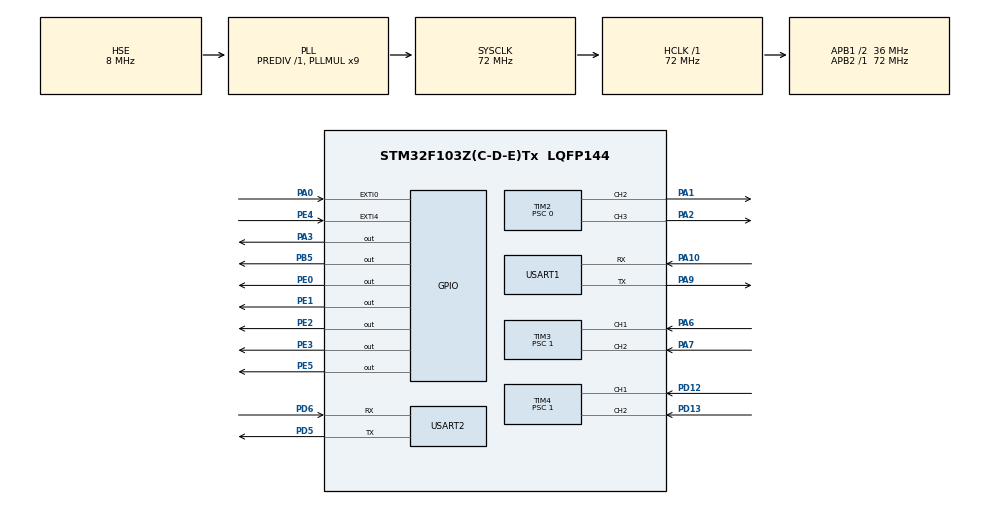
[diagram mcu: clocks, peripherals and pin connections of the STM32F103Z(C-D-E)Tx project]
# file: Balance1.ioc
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Mcu.Family=STM32F1
Mcu.Name=STM32F103Z(C-D-E)Tx
Mcu.Package=LQFP144
NVIC.EXTI0_IRQn=true\:2\:1\:true\:false\:true\:true\:true
NVIC.EXTI4_IRQn=true\:2\:2\:true\:false\:true\:true\:true
NVIC.PriorityGroup=NVIC_PRIORITYGROUP_2
NVIC.TIM1_UP_IRQn=true\:3\:3\:true\:false\:true\:true\:true
NVIC.USART1_IRQn=true\:3\:3\:true\:false\:true\:true\:true
NVIC.USART2_IRQn=true\:0\:0\:false\:false\:true\:true\:true
OSC_IN.Mode=HSE-External-Oscillator
OSC_IN.Signal=RCC_OSC_IN
OSC_OUT.Mode=HSE-External-Oscillator
OSC_OUT.Signal=RCC_OSC_OUT
PA0-WKUP.GPIO_ModeDefaultEXTI=GPIO_MODE_IT_RISING
PA0-WKUP.GPIO_PuPd=GPIO_PULLDOWN
PA0-WKUP.Signal=GPXTI0
PA1.Signal=S_TIM2_CH2
PA10.Mode=Asynchronous
PA10.Signal=USART1_RX
PA13.Mode=Serial_Wire
PA13.Signal=SYS_JTMS-SWDIO
PA14.Mode=Serial_Wire
PA14.Signal=SYS_JTCK-SWCLK
PA2.Signal=S_TIM2_CH3
PA3.GPIO_PuPd=GPIO_PULLDOWN
PA3.GPIO_Speed=GPIO_SPEED_FREQ_LOW
PA3.Signal=GPIO_Output
PA6.Signal=S_TIM3_CH1
PA7.Signal=S_TIM3_CH2
PA9.Mode=Asynchronous
PA9.Signal=USART1_TX
PB5.GPIO_Speed=GPIO_SPEED_FREQ_MEDIUM
PB5.PinState=GPIO_PIN_SET
PB5.Signal=GPIO_Output
PD12.Signal=S_TIM4_CH1
PD13.Signal=S_TIM4_CH2
PD5.Mode=Asynchronous
PD5.Signal=USART2_TX
PD6.Mode=Asynchronous
PD6.Signal=USART2_RX
PE0.GPIO_Speed=GPIO_SPEED_FREQ_HIGH
PE0.PinState=GPIO_PIN_RESET
PE0.Signal=GPIO_Output
PE1.GPIO_Speed=GPIO_SPEED_FREQ_HIGH
PE1.Signal=GPIO_Output
PE2.GPIO_Speed=GPIO_SPEED_FREQ_HIGH
PE2.Signal=GPIO_Output
PE3.GPIO_Speed=GPIO_SPEED_FREQ_HIGH
PE3.Signal=GPIO_Output
PE4.GPIO_PuPd=GPIO_PULLDOWN
PE4.Signal=GPXTI4
PE5.GPIO_Speed=GPIO_SPEED_FREQ_MEDIUM
PE5.PinState=GPIO_PIN_SET
PE5.Signal=GPIO_Output
ProjectManager.HeapSize=0x200
ProjectManager.StackSize=0x400
ProjectManager.TargetToolchain=MDK-ARM V5.27
RCC.AHBFreq_Value=72000000
RCC.APB1CLKDivider=RCC_HCLK_DIV2
RCC.APB1Freq_Value=36000000
RCC.APB1TimFreq_Value=72000000
RCC.APB2Freq_Value=72000000
RCC.APB2TimFreq_Value=72000000
RCC.HCLKFreq_Value=72000000
RCC.PLLMUL=RCC_PLL_MUL9
RCC.PLLSourceVirtual=RCC_PLLSOURCE_HSE
RCC.SYSCLKFreq_VALUE=72000000
RCC.SYSCLKSource=RCC_SYSCLKSOURCE_PLLCLK
RCC.USBFreq_Value=72000000
SH.S_TIM2_CH2.0=TIM2_CH2,PWM Generation2 CH2
SH.S_TIM2_CH3.0=TIM2_CH3,PWM Generation3 CH3
SH.S_TIM3_CH1.0=TIM3_CH1,Encoder_Interface
SH.S_TIM3_CH2.0=TIM3_CH2,Encoder_Interface
SH.S_TIM4_CH1.0=TIM4_CH1,Encoder_Interface
SH.S_TIM4_CH2.0=TIM4_CH2,Encoder_Interface
TIM1.AutoReloadPreload=TIM_AUTORELOAD_PRELOAD_ENABLE
TIM1.Period=7199
TIM1.Prescaler=499
TIM2.AutoReloadPreload=TIM_AUTORELOAD_PRELOAD_ENABLE
TIM2.Channel-PWM\ Generation2\ CH2=TIM_CHANNEL_2
TIM2.Channel-PWM\ Generation3\ CH3=TIM_CHANNEL_3
TIM2.Period=7199
TIM2.Prescaler=0
TIM3.EncoderMode=TIM_ENCODERMODE_TI12
TIM3.Period=35999
TIM3.Prescaler=1
TIM4.EncoderMode=TIM_ENCODERMODE_TI12
TIM4.Period=35999
TIM4.Prescaler=1
USART1.VirtualMode=VM_ASYNC
USART2.VirtualMode=VM_ASYNC
VP_TIM1_VS_ClockSourceINT.Mode=Internal
VP_TIM2_VS_ClockSourceINT.Mode=Internal
board=custom

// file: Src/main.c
/* USER CODE BEGIN Header */
/**
  ******************************************************************************
  * @file           : main.c
  * @brief          : Main program body
  ******************************************************************************
  * @attention
  *
  * <h2><center>&copy; Copyright (c) 2020 STMicroelectronics.
  * All rights reserved.</center></h2>
  *
  * This software component is licensed by ST under BSD 3-Clause license,
  * the "License"; You may not use this file except in compliance with the
  * License. You may obtain a copy of the License at:
  *                        opensource.org/licenses/BSD-3-Clause
  *
  ******************************************************************************
  */

/**
  **********************************************
  *@brief Relevant Information
  **********************************************
  *@MCU
  *stm32f103zet6
  *
  *@ATKWirelessDebugger
  *SerialMaxSpeed:250B/ms
  *
  *
  **********************************************
  *@brief GPIO Configuration
  **********************************************
  *@RightMotor
  *PA1 ----> TIM2_CH2 ---> PWM
  *PE0 ----> ctrl_1
  *PE1 ----> ctrl_2
  *PA6 ----> TIM3_CH1 ---> encoder_1
  *PA7 ----> TIM3_CH2 ---> encoder_2
  *
  *@LeftMotor
  *PA2 ----> TIM2_CH3 ---> PWM
  *PE1 ----> ctrl_1
  *PE2 ----> ctrl_2
  *PD12----> TIM4_CH1 ---> encoder_1
  *PD13----> TIM4_CH2 ---> encoder_2
  *
  *@mpu6050
  *PB10----> SCL
  *PB11----> SDA
  *
  *@uart
  *PA9 ----> USART1_TX
  *PA10----> USART1_RX
  *PD5 ----> USART2_TX
  *PD6 ----> USART2_RX
  *
  *@Exti
  *PA0 ----> EXTI_LINE0
  *PE4 ----> EXTI_LINE4
  **********************************************
  */
/* USER CODE END Header */

#include "main.h"

/* USER CODE BEGIN Includes */
#include "control.h"

/* USER CODE END Includes */
void SystemClock_Config(void);

int main(void)
{
  /* MCU Configuration--------------------------------------------------------*/
  /* Reset of all peripherals, Initializes the Flash interface and the Systick. */
  HAL_Init();

  /* Configure the system clock */
  SystemClock_Config();

  /* Initialize all configured peripherals */
  MX_GPIO_Init();
  MX_TIM1_Init();
  MX_TIM2_Init();
  MX_TIM3_Init();
  MX_TIM4_Init();
  MX_USART1_UART_Init();
  MX_USART2_UART_Init();

  /* USER CODE BEGIN 2 */
    //=====初始化=====//
    {
        ANO_init();

        ANO_reg(&tmp1,FP32);  //俯仰角*1000
        ANO_reg(&BalaPID.out,FP32);  //直立环
        ANO_reg(&BalaPID.Pout,FP32);
        ANO_reg(&BalaPID.Dout,FP32);

        ANO_reg(&tmp2,FP32);  //两轮速度之和 *100
        ANO_reg(&VeloPID.out,FP32);  //速度环
        ANO_reg(&VeloPID.Pout,FP32);
        ANO_reg(&VeloPID.Iout,FP32);

        ANO_reg(&rMotor.PWM,INT32);  //合成输出
    }

    delay_init(72);
    MY_motor_init();
    MY_PID_Init();
    MY_LPFO_init();
    timer_init(&timer1, timer1_callback, TIMER_TIMEOUT_10MS, TIMER_TIMEOUT_10MS);
    timer_init(&timer2, timer2_callback, TIMER_TIMEOUT_10MS, TIMER_TIMEOUT_10MS);
    //timer_init(&timer3, timer3_callback, TIMER_TIMEOUT_10MS, TIMER_TIMEOUT_10MS);

    {
        MPU_Init();
        while(mpu_dmp_init())
        {
            HAL_GPIO_TogglePin(GPIOB,GPIO_PIN_5);
            HAL_GPIO_TogglePin(GPIOE,GPIO_PIN_5);
            delay_ms(100);
        }
        HAL_GPIO_WritePin(GPIOE,GPIO_PIN_5,GPIO_PIN_SET);
        HAL_GPIO_WritePin(GPIOB,GPIO_PIN_5,GPIO_PIN_SET);
    }

    //=====启动=====//
    HAL_TIM_Encoder_Start(&htim3,TIM_CHANNEL_ALL);
    HAL_TIM_Encoder_Start(&htim4,TIM_CHANNEL_ALL);
    //HAL_TIM_Base_Start_IT(&htim1);  //100Hz 测量电机各参数
    timer_start(&timer1);
    timer_start(&timer2);
    //timer_start(&timer3);

  /* USER CODE END 2 */

  /* Infinite loop */
  /* USER CODE BEGIN WHILE */
    while (1)
    {
        timer_loop();  //自定义定时器处理函数
        security();    //应急函数
    /* USER CODE END WHILE */

    }
}

void SystemClock_Config(void)
{
  RCC_OscInitTypeDef RCC_OscInitStruct = {0};
  RCC_ClkInitTypeDef RCC_ClkInitStruct = {0};

  /** Initializes the CPU, AHB and APB busses clocks
  */
  RCC_OscInitStruct.OscillatorType = RCC_OSCILLATORTYPE_HSE;
  RCC_OscInitStruct.HSEState = RCC_HSE_ON;
  RCC_OscInitStruct.HSEPredivValue = RCC_HSE_PREDIV_DIV1;
  RCC_OscInitStruct.HSIState = RCC_HSI_ON;
  RCC_OscInitStruct.PLL.PLLState = RCC_PLL_ON;
  RCC_OscInitStruct.PLL.PLLSource = RCC_PLLSOURCE_HSE;
  RCC_OscInitStruct.PLL.PLLMUL = RCC_PLL_MUL9;
  if (HAL_RCC_OscConfig(&RCC_OscInitStruct) != HAL_OK)
  {
    Error_Handler();
  }
  /** Initializes the CPU, AHB and APB busses clocks
  */
  RCC_ClkInitStruct.ClockType = RCC_CLOCKTYPE_HCLK|RCC_CLOCKTYPE_SYSCLK
                              |RCC_CLOCKTYPE_PCLK1|RCC_CLOCKTYPE_PCLK2;
  RCC_ClkInitStruct.SYSCLKSource = RCC_SYSCLKSOURCE_PLLCLK;
  RCC_ClkInitStruct.AHBCLKDivider = RCC_SYSCLK_DIV1;
  RCC_ClkInitStruct.APB1CLKDivider = RCC_HCLK_DIV2;
  RCC_ClkInitStruct.APB2CLKDivider = RCC_HCLK_DIV1;

  if (HAL_RCC_ClockConfig(&RCC_ClkInitStruct, FLASH_LATENCY_2) != HAL_OK)
  {
    Error_Handler();
  }
}

void Error_Handler(void)
{
  /* USER CODE BEGIN Error_Handler_Debug */
    /* User can add his own implementation to report the HAL error return state */
    while(1)
    {
        HAL_GPIO_TogglePin(GPIOB,GPIO_PIN_5);
        HAL_GPIO_TogglePin(GPIOE,GPIO_PIN_5);
        delay_ms(100);
    }
  /* USER CODE END Error_Handler_Debug */
}

/************************ (C) COPYRIGHT STMicroelectronics *****END OF FILE****/
